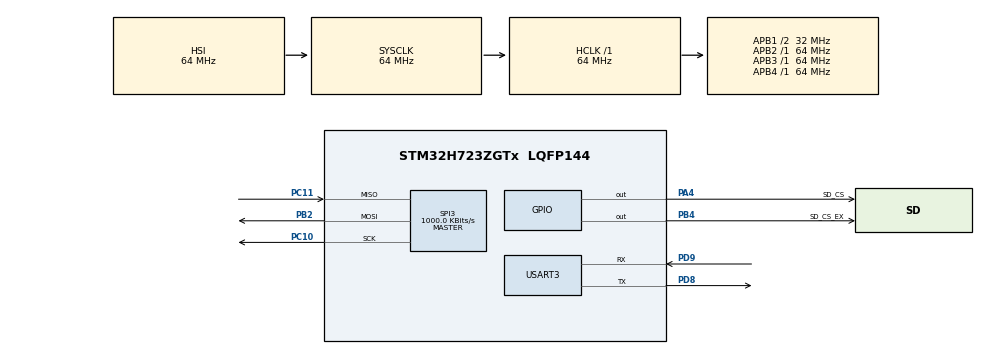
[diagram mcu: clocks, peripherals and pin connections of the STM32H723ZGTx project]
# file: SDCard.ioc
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CORTEX_M7.default_mode_Activation=1
FATFS._VOLUMES=2
Mcu.Family=STM32H7
Mcu.Name=STM32H723ZGTx
Mcu.Package=LQFP144
NVIC.PriorityGroup=NVIC_PRIORITYGROUP_4
PA4.GPIO_Label=SD_CS
PA4.PinState=GPIO_PIN_SET
PA4.Signal=GPIO_Output
PB2.Mode=Full_Duplex_Master
PB2.Signal=SPI3_MOSI
PB4(NJTRST).GPIO_Label=SD_CS_EX
PB4(NJTRST).PinState=GPIO_PIN_SET
PB4(NJTRST).Signal=GPIO_Output
PC10.Mode=Full_Duplex_Master
PC10.Signal=SPI3_SCK
PC11.Mode=Full_Duplex_Master
PC11.Signal=SPI3_MISO
PD8.Mode=Asynchronous
PD8.Signal=USART3_TX
PD9.Mode=Asynchronous
PD9.Signal=USART3_RX
ProjectManager.HeapSize=0x200
ProjectManager.StackSize=0x400
ProjectManager.TargetToolchain=STM32CubeIDE
RCC.ADCFreq_Value=129000000
RCC.APB1Freq_Value=32000000
RCC.APB2Freq_Value=64000000
RCC.APB3Freq_Value=64000000
RCC.APB4Freq_Value=64000000
RCC.CortexFreq_Value=64000000
RCC.D2PPRE1=RCC_APB1_DIV2
RCC.DIVM1=4
RCC.DIVN1=12
RCC.DIVQ1=3
RCC.HCLKFreq_Value=64000000
RCC.PLLFRACN=0
RCC.SYSCLKFreq_VALUE=64000000
RCC.USBFreq_Value=64000000
SPI3.BaudRatePrescaler=SPI_BAUDRATEPRESCALER_64
SPI3.CalculateBaudRate=1000.0 KBits/s
SPI3.DataSize=SPI_DATASIZE_8BIT
SPI3.Direction=SPI_DIRECTION_2LINES
SPI3.Mode=SPI_MODE_MASTER
SPI3.VirtualType=VM_MASTER
USART3.VirtualMode-Asynchronous=VM_ASYNC
VP_FATFS_VS_Generic.Mode=User_defined
VP_MEMORYMAP_VS_MEMORYMAP.Mode=CurAppReg
board=custom

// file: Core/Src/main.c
/* USER CODE BEGIN Header */
/**
  ******************************************************************************
  * @file           : main.c
  * @brief          : Main program body
  ******************************************************************************
  * @attention
  *
  * Copyright (c) 2024 STMicroelectronics.
  * All rights reserved.
  *
  * This software is licensed under terms that can be found in the LICENSE file
  * in the root directory of this software component.
  * If no LICENSE file comes with this software, it is provided AS-IS.
  *
  ******************************************************************************
  */
/* USER CODE END Header */
#include "main.h"
#include "fatfs.h"

/* USER CODE BEGIN Includes */
#include <stdio.h>
#include <string.h>
#include <stdarg.h>
/* USER CODE END Includes */

SPI_HandleTypeDef hspi3;

UART_HandleTypeDef huart3;

void SystemClock_Config(void);
static void MPU_Config(void);
static void MX_GPIO_Init(void);
static void MX_SPI3_Init(void);
static void MX_USART3_UART_Init(void);

/* USER CODE BEGIN 0 */
int printf(const char *fmt, ...) {
  static char buffer[256];
  va_list args;
  va_start(args, fmt);
  vsnprintf(buffer, sizeof(buffer), fmt, args);
  va_end(args);

  int len = strlen(buffer);
  HAL_UART_Transmit(&huart3, (uint8_t*)buffer, len, -1);
  return len;
}

void writeFile(char* volume)
{
    FATFS FatFs;
    FIL fil;
    FRESULT fres;

    fres = f_mount(&FatFs, volume, 1); // 1 = mount immediately
    if (fres != FR_OK) {
        printf("Failed to mount volume %s. Error: %d\r\n", volume, fres);
        return;
    }

    DWORD free_clusters, free_sectors, total_sectors;
    FATFS* getFreeFs;

    fres = f_getfree(volume, &free_clusters, &getFreeFs);
    if (fres != FR_OK) {
        printf("Failed to get free space for volume %s. Error: %d\r\n", volume, fres);
        f_mount(NULL, volume, 0);
        return;
    }

    // Calculate total and free sectors
    total_sectors = (getFreeFs->n_fatent - 2) * getFreeFs->csize;
    free_sectors = free_clusters * getFreeFs->csize;
    printf("Volume %s - Total space: %lu KB, Free space: %lu KB\r\n",
           volume, total_sectors / 2, free_sectors / 2);

    // Write to a file
    BYTE writeBuf[] = "A new file is made! Both Cards.";
    char filePath[64];
    snprintf(filePath, sizeof(filePath), "%sfcards.txt", volume);

    fres = f_open(&fil, filePath, FA_WRITE | FA_CREATE_ALWAYS);
    if (fres != FR_OK) {
        printf("Failed to open file on volume %s. Error: %d\r\n", volume, fres);
        f_mount(NULL, volume, 0);
        return;
    }

    UINT bytesWritten;
    fres = f_write(&fil, writeBuf, sizeof(writeBuf) - 1, &bytesWritten);
    if (fres == FR_OK) {
        printf("Successfully wrote %u bytes to %s\r\n", bytesWritten, filePath);
    } else {
        printf("Failed to write to file. Error: %d\r\n", fres);
    }

    f_close(&fil);
    f_mount(NULL, volume, 0);
}

/* USER CODE END 0 */

int main(void)
{

  /* MPU Configuration--------------------------------------------------------*/
  MPU_Config();

  /* MCU Configuration--------------------------------------------------------*/

  /* Reset of all peripherals, Initializes the Flash interface and the Systick. */
  HAL_Init();

  /* Configure the system clock */
  SystemClock_Config();

  /* Initialize all configured peripherals */
  MX_GPIO_Init();
  MX_FATFS_Init();
  MX_SPI3_Init();
  MX_USART3_UART_Init();
  /* USER CODE BEGIN 2 */

  for(int i = 0; i < _VOLUMES; i++)
  {
	  writeFile(USERPath[i]);
  }

  /* USER CODE END 2 */

  /* Infinite loop */
  /* USER CODE BEGIN WHILE */
  while (1)
  {
	  const uint8_t str[] = "test print\r\n";
	  HAL_UART_Transmit(&huart3, str, sizeof(str), 1000);
	  HAL_Delay(1000);
    /* USER CODE END WHILE */

  }
}

void SystemClock_Config(void)
{
  RCC_OscInitTypeDef RCC_OscInitStruct = {0};
  RCC_ClkInitTypeDef RCC_ClkInitStruct = {0};

  /** Supply configuration update enable
  */
  HAL_PWREx_ConfigSupply(PWR_LDO_SUPPLY);

  /** Configure the main internal regulator output voltage
  */
  __HAL_PWR_VOLTAGESCALING_CONFIG(PWR_REGULATOR_VOLTAGE_SCALE3);

  while(!__HAL_PWR_GET_FLAG(PWR_FLAG_VOSRDY)) {}

  /** Initializes the RCC Oscillators according to the specified parameters
  * in the RCC_OscInitTypeDef structure.
  */
  RCC_OscInitStruct.OscillatorType = RCC_OSCILLATORTYPE_HSI;
  RCC_OscInitStruct.HSIState = RCC_HSI_DIV1;
  RCC_OscInitStruct.HSICalibrationValue = 64;
  RCC_OscInitStruct.PLL.PLLState = RCC_PLL_ON;
  RCC_OscInitStruct.PLL.PLLSource = RCC_PLLSOURCE_HSI;
  RCC_OscInitStruct.PLL.PLLM = 4;
  RCC_OscInitStruct.PLL.PLLN = 12;
  RCC_OscInitStruct.PLL.PLLP = 2;
  RCC_OscInitStruct.PLL.PLLQ = 3;
  RCC_OscInitStruct.PLL.PLLR = 2;
  RCC_OscInitStruct.PLL.PLLRGE = RCC_PLL1VCIRANGE_3;
  RCC_OscInitStruct.PLL.PLLVCOSEL = RCC_PLL1VCOWIDE;
  RCC_OscInitStruct.PLL.PLLFRACN = 0;
  if (HAL_RCC_OscConfig(&RCC_OscInitStruct) != HAL_OK)
  {
    Error_Handler();
  }

  /** Initializes the CPU, AHB and APB buses clocks
  */
  RCC_ClkInitStruct.ClockType = RCC_CLOCKTYPE_HCLK|RCC_CLOCKTYPE_SYSCLK
                              |RCC_CLOCKTYPE_PCLK1|RCC_CLOCKTYPE_PCLK2
                              |RCC_CLOCKTYPE_D3PCLK1|RCC_CLOCKTYPE_D1PCLK1;
  RCC_ClkInitStruct.SYSCLKSource = RCC_SYSCLKSOURCE_HSI;
  RCC_ClkInitStruct.SYSCLKDivider = RCC_SYSCLK_DIV1;
  RCC_ClkInitStruct.AHBCLKDivider = RCC_HCLK_DIV1;
  RCC_ClkInitStruct.APB3CLKDivider = RCC_APB3_DIV1;
  RCC_ClkInitStruct.APB1CLKDivider = RCC_APB1_DIV2;
  RCC_ClkInitStruct.APB2CLKDivider = RCC_APB2_DIV1;
  RCC_ClkInitStruct.APB4CLKDivider = RCC_APB4_DIV1;

  if (HAL_RCC_ClockConfig(&RCC_ClkInitStruct, FLASH_LATENCY_1) != HAL_OK)
  {
    Error_Handler();
  }
}

static void MX_SPI3_Init(void)
{

  /* SPI3 parameter configuration*/
  hspi3.Instance = SPI3;
  hspi3.Init.Mode = SPI_MODE_MASTER;
  hspi3.Init.Direction = SPI_DIRECTION_2LINES;
  hspi3.Init.DataSize = SPI_DATASIZE_8BIT;
  hspi3.Init.CLKPolarity = SPI_POLARITY_LOW;
  hspi3.Init.CLKPhase = SPI_PHASE_1EDGE;
  hspi3.Init.NSS = SPI_NSS_SOFT;
  hspi3.Init.BaudRatePrescaler = SPI_BAUDRATEPRESCALER_64;
  hspi3.Init.FirstBit = SPI_FIRSTBIT_MSB;
  hspi3.Init.TIMode = SPI_TIMODE_DISABLE;
  hspi3.Init.CRCCalculation = SPI_CRCCALCULATION_DISABLE;
  hspi3.Init.CRCPolynomial = 0x0;
  hspi3.Init.NSSPMode = SPI_NSS_PULSE_ENABLE;
  hspi3.Init.NSSPolarity = SPI_NSS_POLARITY_LOW;
  hspi3.Init.FifoThreshold = SPI_FIFO_THRESHOLD_01DATA;
  hspi3.Init.TxCRCInitializationPattern = SPI_CRC_INITIALIZATION_ALL_ZERO_PATTERN;
  hspi3.Init.RxCRCInitializationPattern = SPI_CRC_INITIALIZATION_ALL_ZERO_PATTERN;
  hspi3.Init.MasterSSIdleness = SPI_MASTER_SS_IDLENESS_00CYCLE;
  hspi3.Init.MasterInterDataIdleness = SPI_MASTER_INTERDATA_IDLENESS_00CYCLE;
  hspi3.Init.MasterReceiverAutoSusp = SPI_MASTER_RX_AUTOSUSP_DISABLE;
  hspi3.Init.MasterKeepIOState = SPI_MASTER_KEEP_IO_STATE_DISABLE;
  hspi3.Init.IOSwap = SPI_IO_SWAP_DISABLE;
  if (HAL_SPI_Init(&hspi3) != HAL_OK)
  {
    Error_Handler();
  }

}

static void MX_USART3_UART_Init(void)
{

  huart3.Instance = USART3;
  huart3.Init.BaudRate = 115200;
  huart3.Init.WordLength = UART_WORDLENGTH_8B;
  huart3.Init.StopBits = UART_STOPBITS_1;
  huart3.Init.Parity = UART_PARITY_NONE;
  huart3.Init.Mode = UART_MODE_TX_RX;
  huart3.Init.HwFlowCtl = UART_HWCONTROL_NONE;
  huart3.Init.OverSampling = UART_OVERSAMPLING_16;
  huart3.Init.OneBitSampling = UART_ONE_BIT_SAMPLE_DISABLE;
  huart3.Init.ClockPrescaler = UART_PRESCALER_DIV1;
  huart3.AdvancedInit.AdvFeatureInit = UART_ADVFEATURE_NO_INIT;
  if (HAL_UART_Init(&huart3) != HAL_OK)
  {
    Error_Handler();
  }
  if (HAL_UARTEx_SetTxFifoThreshold(&huart3, UART_TXFIFO_THRESHOLD_1_8) != HAL_OK)
  {
    Error_Handler();
  }
  if (HAL_UARTEx_SetRxFifoThreshold(&huart3, UART_RXFIFO_THRESHOLD_1_8) != HAL_OK)
  {
    Error_Handler();
  }
  if (HAL_UARTEx_DisableFifoMode(&huart3) != HAL_OK)
  {
    Error_Handler();
  }

}

static void MX_GPIO_Init(void)
{
  GPIO_InitTypeDef GPIO_InitStruct = {0};

  /* GPIO Ports Clock Enable */
  __HAL_RCC_GPIOA_CLK_ENABLE();
  __HAL_RCC_GPIOB_CLK_ENABLE();
  __HAL_RCC_GPIOD_CLK_ENABLE();
  __HAL_RCC_GPIOC_CLK_ENABLE();

  /*Configure GPIO pin Output Level */
  HAL_GPIO_WritePin(SD_CS_GPIO_Port, SD_CS_Pin, GPIO_PIN_SET);

  /*Configure GPIO pin Output Level */
  HAL_GPIO_WritePin(SD_CS_EX_GPIO_Port, SD_CS_EX_Pin, GPIO_PIN_SET);

  /*Configure GPIO pin : SD_CS_Pin */
  GPIO_InitStruct.Pin = SD_CS_Pin;
  GPIO_InitStruct.Mode = GPIO_MODE_OUTPUT_PP;
  GPIO_InitStruct.Pull = GPIO_NOPULL;
  GPIO_InitStruct.Speed = GPIO_SPEED_FREQ_LOW;
  HAL_GPIO_Init(SD_CS_GPIO_Port, &GPIO_InitStruct);

  /*Configure GPIO pin : SD_CS_EX_Pin */
  GPIO_InitStruct.Pin = SD_CS_EX_Pin;
  GPIO_InitStruct.Mode = GPIO_MODE_OUTPUT_PP;
  GPIO_InitStruct.Pull = GPIO_NOPULL;
  GPIO_InitStruct.Speed = GPIO_SPEED_FREQ_LOW;
  HAL_GPIO_Init(SD_CS_EX_GPIO_Port, &GPIO_InitStruct);

}

 /* MPU Configuration */

void MPU_Config(void)
{
  MPU_Region_InitTypeDef MPU_InitStruct = {0};

  /* Disables the MPU */
  HAL_MPU_Disable();

  /** Initializes and configures the Region and the memory to be protected
  */
  MPU_InitStruct.Enable = MPU_REGION_ENABLE;
  MPU_InitStruct.Number = MPU_REGION_NUMBER0;
  MPU_InitStruct.BaseAddress = 0x0;
  MPU_InitStruct.Size = MPU_REGION_SIZE_4GB;
  MPU_InitStruct.SubRegionDisable = 0x87;
  MPU_InitStruct.TypeExtField = MPU_TEX_LEVEL0;
  MPU_InitStruct.AccessPermission = MPU_REGION_NO_ACCESS;
  MPU_InitStruct.DisableExec = MPU_INSTRUCTION_ACCESS_DISABLE;
  MPU_InitStruct.IsShareable = MPU_ACCESS_SHAREABLE;
  MPU_InitStruct.IsCacheable = MPU_ACCESS_NOT_CACHEABLE;
  MPU_InitStruct.IsBufferable = MPU_ACCESS_NOT_BUFFERABLE;

  HAL_MPU_ConfigRegion(&MPU_InitStruct);
  /* Enables the MPU */
  HAL_MPU_Enable(MPU_PRIVILEGED_DEFAULT);

}

void Error_Handler(void)
{
  __disable_irq();
  while (1)
  {
  }
}
